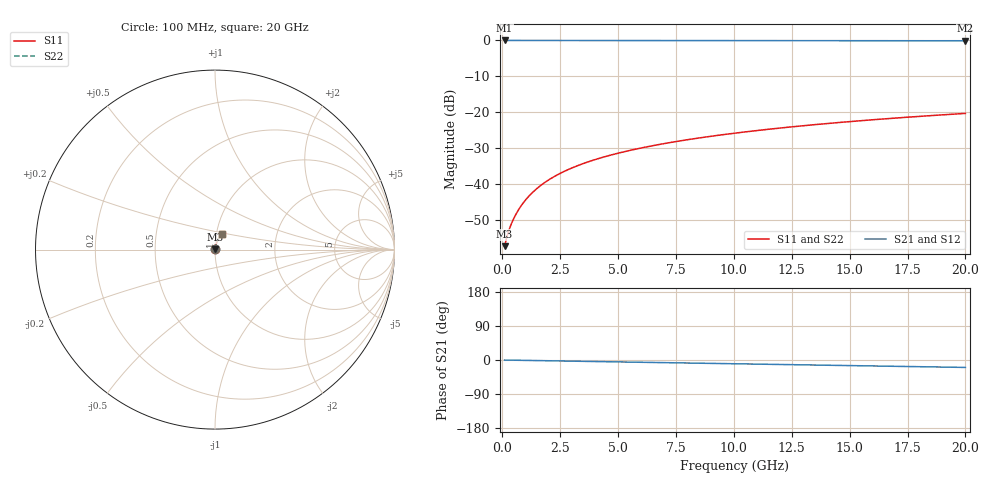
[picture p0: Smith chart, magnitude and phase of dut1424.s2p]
! Touchstone file exported from HFSS 2026.1.0
!  File:  C:/ffzhzh/LocalFiles/Ansys_Project_Files/temp_train_TMRDL_1424_1783166769_18472.aedt
!  Generated:  08:07:18 PM Jul  4, 2026
!  Design:  TMRDL
!  Project:  temp_train_TMRDL_1424_1783166769_18472
! Variables:
!  h_bsmrdl = 2um
!  h_ox = 20um
!  h_rdl = 5um
!  h_sub = 80um
!  h_tmrdl = 5.11um
!  h_tsv = 80um
!  h_via = 3um
!  l_bsmrdl = 300um
!  l_sub = 720.05um
!  l_tmrdl = 320.05um
!  m_sub = 200um
!  pitch = 34.33um
!  r_tsv = 6um
!  s_tmrdl = 10um
!  w_bsmrdl = 18um
!  w_sub = 500um
!  w_tmrdl = 23.42um
!  x_tsv_center1 = 331.76um
!  x_tsv_center2 = 649.76um
!  x_tsv_center3 = 993.23um
!  x_tsv_center4 = 1311.23um
!  x_tsv_center5 = 1654.7um
!  x_tsv_center6 = 1972.7um
# GHz S MA R 50.000000
! Terminal data exported
! Port[1] = TM_RDL1_1_T1
! Port[2] = TM_RDL1_1_T2
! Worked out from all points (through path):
!   200 points, 100 MHz to 20 GHz, reference 50 ohm
!   highest |S21| = -0.01 dB at 100 MHz (marker M1); lowest = -0.1 dB at 20 GHz (marker M2)
!   group delay of S21, straight-line fit = 2.71 ps
!   lowest |S11| = -57.4 dB at 100 MHz (marker M3), VSWR 1.00, Z = 50.1 + j0.0726 ohm
!   |S11| at or under -10 dB: start of sweep to end of sweep
!   |S22| runs from -57.4 to -20.4 dB; largest |S21 - S12| = 2.7e-15
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0.1  0.001353 32.4  0.9989 -0.1  0.9989 -0.1  0.001353 32.4
! Gamma 0 0 0 0
! Port Impedance 50 0 50 0
0.2  0.001845 46.4  0.9987 -0.2  0.9987 -0.2  0.001845 46.4
0.3  0.002331 54.1  0.9986 -0.3  0.9986 -0.3  0.002331 54.1
0.4  0.002818 59.5  0.9986 -0.4  0.9986 -0.4  0.002818 59.5
0.5  0.003315 63.4  0.9985 -0.5  0.9985 -0.5  0.003315 63.4
0.6  0.003824 66.5  0.9985 -0.6  0.9985 -0.6  0.003824 66.5
0.8  0.004869 70.7  0.9984 -0.8  0.9984 -0.8  0.004869 70.7
1  0.005937 73.3  0.9983 -1.0  0.9983 -1.0  0.005937 73.3
1.2  0.007017 75.0  0.9983 -1.2  0.9983 -1.2  0.007017 75.0
1.4  0.008101 76.2  0.9982 -1.4  0.9982 -1.4  0.008101 76.2
1.7  0.009726 77.3  0.9981 -1.7  0.9981 -1.7  0.009726 77.3
2.2  0.01241 78.2  0.9978 -2.2  0.9978 -2.2  0.01241 78.2
2.8  0.01559 78.5  0.9975 -2.8  0.9975 -2.8  0.01559 78.5
3.5  0.01922 78.4  0.9971 -3.5  0.9971 -3.5  0.01922 78.4
4.2  0.02278 78.1  0.9967 -4.2  0.9967 -4.2  0.02278 78.1
5  0.02677 77.7  0.9963 -5.0  0.9963 -5.0  0.02677 77.7
6.8  0.03554 76.6  0.9953 -6.8  0.9953 -6.8  0.03554 76.6
8.3  0.04272 75.5  0.9945 -8.3  0.9945 -8.3  0.04272 75.5
10.1  0.05121 74.2  0.9936 -10.0  0.9936 -10.0  0.05121 74.2
13.4  0.06651 71.6  0.9918 -13.2  0.9918 -13.2  0.06651 71.7
16.7  0.08146 68.9  0.99 -16.4  0.99 -16.4  0.08146 68.9
20  0.09602 66.1  0.9881 -19.6  0.9881 -19.6  0.09602 66.1
